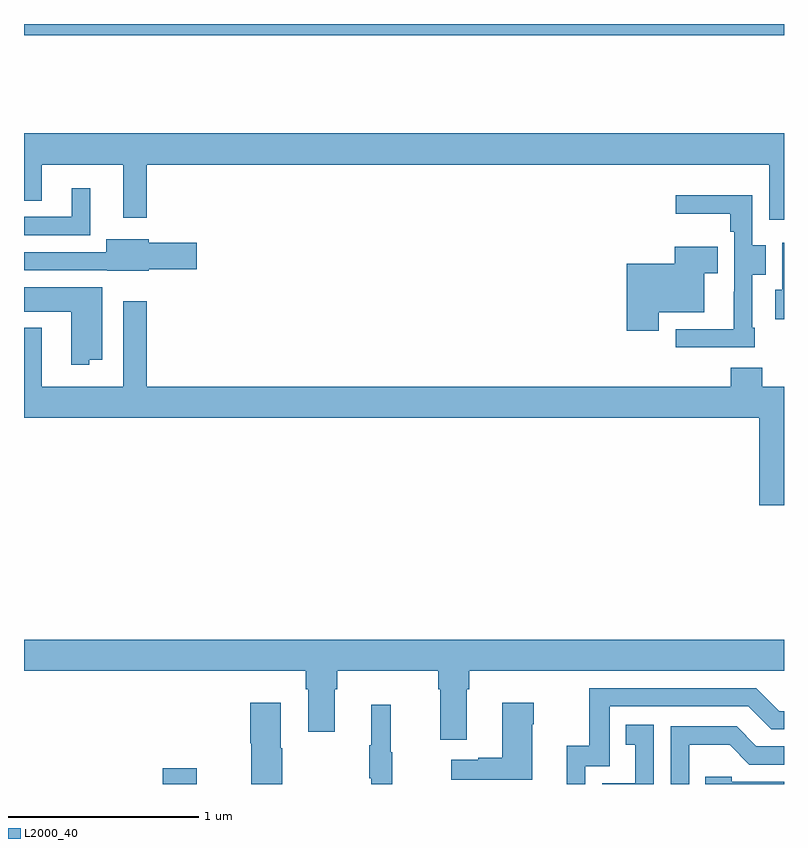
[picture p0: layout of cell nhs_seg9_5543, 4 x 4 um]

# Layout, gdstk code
import gdstk
lib = gdstk.Library(unit=1e-6, precision=1e-09)
def R(c, l, rs):  # rectangles x0, y0, x1, y1
    for r in rs: c.add(gdstk.rectangle(r[:2], r[2:], *l))
def P(c, l, *ps):  # polygons
    for p in ps: c.add(gdstk.Polygon(p, *l))
L2000_40 = (2000, 40)

nhs_seg9_5543 = lib.new_cell('nhs_seg9_5543')
R(nhs_seg9_5543, L2000_40, [(433.73,1186.5,433.908,1186.582), (433,1190.44,437,1190.5)])
P(nhs_seg9_5543, L2000_40, [(437,1189.924),(433,1189.924),(433,1189.57),(433.093,1189.57),(433.093,1189.76),(433.523,1189.76),(433.523,1189.479),(433.645,1189.479),(433.645,1189.76),(436.923,1189.76),(436.923,1189.47),(437,1189.47)],
  [(433.348,1189.636),(433.25,1189.636),(433.25,1189.485),(433,1189.485),(433,1189.389),(433.348,1189.389)],
  [(436.846,1188.901),(436.833,1188.901),(436.833,1189.18),(436.903,1189.18),(436.903,1189.335),(436.833,1189.335),(436.833,1189.6),(436.431,1189.6),(436.431,1189.502),(436.717,1189.502),(436.717,1189.406),(436.737,1189.406),(436.737,1189.091),(436.736,1189.091),(436.736,1188.894),(436.431,1188.894),(436.431,1188.798),(436.846,1188.798)],
  [(433.656,1189.208),(433.909,1189.208),(433.909,1189.35),(433.656,1189.35),(433.656,1189.366),(433.433,1189.366),(433.433,1189.299),(433,1189.299),(433,1189.203),(433.437,1189.203),(433.437,1189.202),(433.656,1189.202)],
  [(437,1189.348),(436.992,1189.348),(436.992,1189.101),(436.955,1189.101),(436.955,1188.945),(437,1188.945)],
  [(436.342,1188.983),(436.579,1188.983),(436.579,1189.187),(436.652,1189.187),(436.652,1189.327),(436.424,1189.327),(436.424,1189.237),(436.172,1189.237),(436.172,1188.885),(436.342,1188.885)],
  [(433.344,1188.734),(433.411,1188.734),(433.411,1189.114),(433,1189.114),(433,1188.986),(433.248,1188.986),(433.248,1188.707),(433.344,1188.707)],
  [(437,1188.592),(436.886,1188.592),(436.886,1188.691),(436.721,1188.691),(436.721,1188.592),(433.645,1188.592),(433.645,1189.042),(433.523,1189.042),(433.523,1188.592),(433.093,1188.592),(433.093,1188.901),(433,1188.901),(433,1188.428),(436.871,1188.428),(436.871,1187.967),(437,1187.967)],
  [(435.331,1187),(435.344,1187),(435.344,1187.096),(437,1187.096),(437,1187.26),(433,1187.26),(433,1187.096),(434.483,1187.096),(434.483,1187),(434.495,1187),(434.495,1186.776),(434.635,1186.776),(434.635,1187),(434.648,1187),(434.648,1187.096),(435.179,1187.096),(435.179,1187),(435.191,1187),(435.191,1186.734),(435.331,1186.734)],
  [(435.954,1186.593),(436.083,1186.593),(436.083,1186.908),(436.812,1186.908),(436.932,1186.788),(437,1186.788),(437,1186.884),(436.974,1186.884),(436.854,1187.004),(435.975,1187.004),(435.975,1186.702),(435.857,1186.702),(435.857,1186.5),(435.954,1186.5)],
  [(435.676,1186.814),(435.684,1186.814),(435.684,1186.927),(435.518,1186.927),(435.518,1186.637),(435.392,1186.637),(435.392,1186.627),(435.249,1186.627),(435.249,1186.523),(435.676,1186.523)],
  [(434.358,1186.688),(434.35,1186.688),(434.35,1186.927),(434.192,1186.927),(434.192,1186.714),(434.197,1186.714),(434.197,1186.5),(434.358,1186.5)],
  [(434.938,1186.668),(434.93,1186.668),(434.93,1186.918),(434.828,1186.918),(434.828,1186.705),(434.817,1186.705),(434.817,1186.531),(434.828,1186.531),(434.828,1186.5),(434.938,1186.5)],
  [(436.314,1186.813),(436.168,1186.813),(436.168,1186.707),(436.217,1186.707),(436.217,1186.503),(436.044,1186.503),(436.044,1186.5),(436.314,1186.5)],
  [(436.5,1186.706),(436.714,1186.706),(436.818,1186.602),(437,1186.602),(437,1186.698),(436.855,1186.698),(436.75,1186.803),(436.404,1186.803),(436.404,1186.5),(436.5,1186.5)],
  [(437,1186.512),(436.725,1186.512),(436.725,1186.539),(436.585,1186.539),(436.585,1186.5),(437,1186.5)])

lib.write_gds('nhs_seg9_5543.gds')
